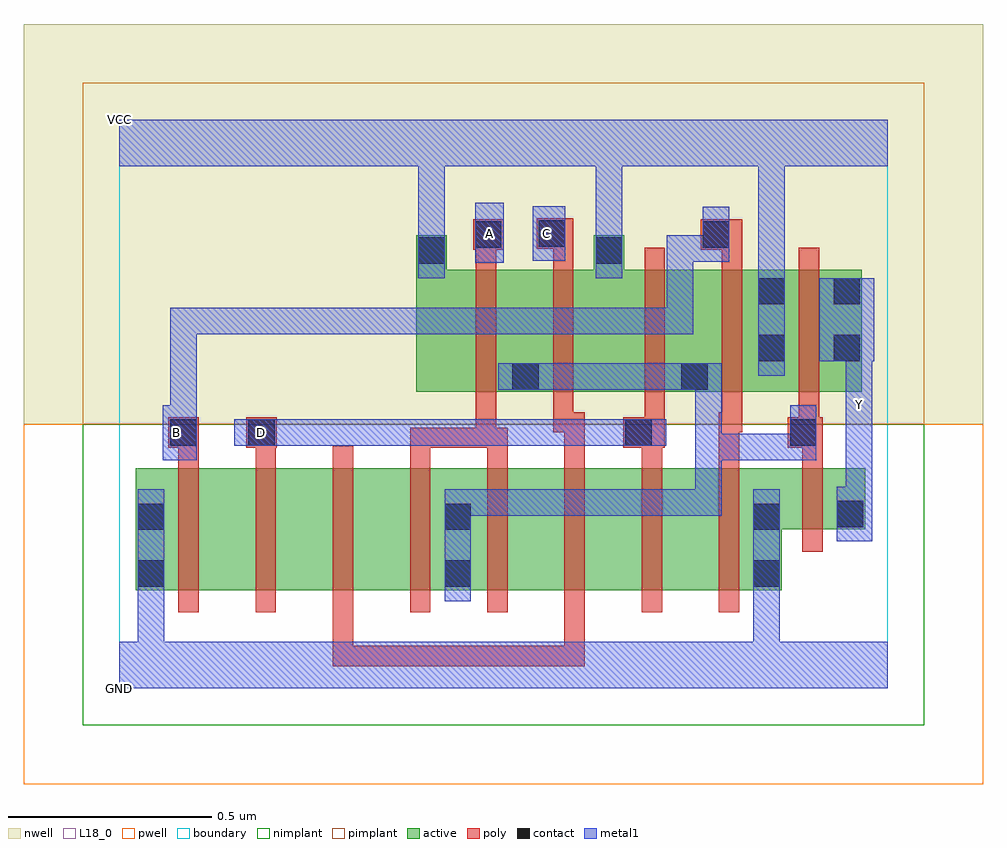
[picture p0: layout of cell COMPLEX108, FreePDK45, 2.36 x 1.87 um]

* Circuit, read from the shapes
.subckt COMPLEX108 A B C D GND VCC Y
M1 n1 B GND VSUBS nfet w=0.3u l=0.05u
M2 n2 D n1 VSUBS nfet w=0.3u l=0.05u
M3 n3 C n2 VSUBS nfet w=0.3u l=0.05u
M4 n4 A n3 VSUBS nfet w=0.3u l=0.05u
M5 n5 A n4 VSUBS nfet w=0.3u l=0.05u
M6 n6 C n5 VSUBS nfet w=0.3u l=0.05u
M7 n7 D n6 VSUBS nfet w=0.3u l=0.05u
M8 GND B n7 VSUBS nfet w=0.3u l=0.05u
M9 Y n4 GND VSUBS nfet w=0.15u l=0.05u
M10 n4 A VCC n8 pfet w=0.3u l=0.05u
M11 VCC C n4 n8 pfet w=0.3u l=0.05u
M12 n4 D VCC n8 pfet w=0.3u l=0.05u
M13 VCC B n4 n8 pfet w=0.3u l=0.05u
M14 Y n4 VCC n8 pfet w=0.3u l=0.05u
.ends

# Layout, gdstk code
import gdstk
lib = gdstk.Library(unit=1e-6, precision=1e-09)
def R(c, l, rs):  # rectangles x0, y0, x1, y1
    for r in rs: c.add(gdstk.rectangle(r[:2], r[2:], *l))
def A(c, l, x, y, w, h, nx, ny, dx, dy):  # array of equal rectangles
    R(c, l, [(x+i*dx, y+j*dy, x+i*dx+w, y+j*dy+h) for i in range(nx) for j in range(ny)])
active = (1, 0)
pwell = (2, 0)
nwell = (3, 0)
nimplant = (4, 0)
pimplant = (5, 0)
poly = (9, 0)
contact = (10, 0)
metal1 = (11, 0)
L18_0 = (18, 0)
boundary = (235, 0)

complex108 = lib.new_cell('COMPLEX108')
R(complex108, active, [(0.04,0.242,0.265,0.542), (0.04,0.242,0.115,0.542), (0.265,0.242,0.455,0.542), (0.455,0.242,0.645,0.542), (0.645,0.242,0.87,0.542), (0.795,0.242,1.025,0.542), (0.795,0.242,0.87,0.517), (1.025,0.242,1.215,0.542), (1.215,0.242,1.405,0.542), (1.405,0.242,1.63,0.542), (1.555,0.245,1.63,0.46), (1.555,0.392,1.835,0.542), (1.76,0.392,1.835,0.542), (0.73,0.73,1.037,1.03), (0.73,0.73,0.805,1.115), (0.962,0.73,1.242,1.03), (0.962,0.73,1.037,0.897), (1.167,0.73,1.452,1.03), (1.377,0.73,1.452,1.005), (1.377,0.73,1.642,1.03), (1.567,0.73,1.827,1.03), (1.752,0.73,1.827,1.03), (1.567,0.8,1.642,1.015), (1.167,0.832,1.242,1.115)])
R(complex108, pwell, [(-0.235,-0.235,2.125,0.65)])
R(complex108, nwell, [(-0.235,0.65,2.125,1.635)])
R(complex108, nimplant, [(-0.09,-0.09,1.98,0.65)])
R(complex108, pimplant, [(-0.09,0.65,1.98,1.49)])
A(complex108, poly, 0.145, 0.187, 0.05, 0.41, 8, 1, 0.19, 0)
A(complex108, poly, 1.292, 0.675, 0.05, 0.41, 3, 1, 0.19, 0)
R(complex108, poly, [(0.525,0.055,0.575,0.237), (0.525,0.055,0.575,0.105), (0.525,0.055,0.575,0.105), (0.525,0.055,0.575,0.105), (0.525,0.055,0.707,0.105), (0.657,0.055,0.707,0.105), (0.657,0.055,0.945,0.105), (0.895,0.055,0.945,0.105), (0.895,0.055,0.945,0.105), (0.895,0.055,0.945,0.105), (0.895,0.055,1.145,0.105), (1.095,0.055,1.145,0.237), (1.095,0.055,1.145,0.105), (1.095,0.055,1.145,0.105), (1.095,0.055,1.145,0.105), (1.68,0.337,1.73,0.597), (0.145,0.547,0.195,0.642), (0.335,0.547,0.385,0.642), (0.715,0.547,0.765,0.642), (0.905,0.547,0.955,0.642), (1.095,0.547,1.145,0.68), (1.285,0.547,1.335,0.642), (1.475,0.547,1.525,0.68), (1.68,0.547,1.73,0.642), (0.12,0.592,0.195,0.667), (0.312,0.592,0.387,0.667), (0.715,0.592,0.765,0.642), (0.715,0.592,0.765,0.642), (0.715,0.592,0.765,0.642), (0.715,0.592,0.927,0.642), (0.877,0.592,0.927,0.725), (0.877,0.592,0.955,0.642), (1.24,0.592,1.342,0.667), (1.645,0.592,1.73,0.667), (1.292,0.617,1.342,0.725), (1.672,0.617,1.722,0.725), (1.067,0.63,1.117,0.725), (1.067,0.63,1.145,0.68), (1.475,0.63,1.532,0.68), (1.482,0.63,1.532,0.725), (0.877,0.675,0.927,1.085), (1.067,0.675,1.117,1.085), (0.877,1.035,0.927,1.13), (1.067,1.035,1.117,1.132), (1.482,1.035,1.532,1.13), (0.87,1.08,0.945,1.155), (1.43,1.08,1.532,1.155), (1.027,1.082,1.117,1.157)])
R(complex108, contact, [(0.045,0.25,0.11,0.315), (0.8,0.25,0.865,0.315), (1.56,0.25,1.625,0.315), (0.045,0.39,0.11,0.455), (0.8,0.39,0.865,0.455), (1.56,0.39,1.625,0.455), (1.765,0.397,1.83,0.462), (0.125,0.597,0.19,0.662), (0.317,0.597,0.382,0.662), (1.245,0.597,1.31,0.662), (1.65,0.597,1.715,0.662), (0.967,0.735,1.032,0.8), (1.382,0.735,1.447,0.8), (1.572,0.805,1.637,0.87), (1.757,0.805,1.822,0.87), (1.572,0.945,1.637,1.01), (1.757,0.945,1.822,1.01), (0.735,1.045,0.8,1.11), (1.172,1.045,1.237,1.11), (0.875,1.085,0.94,1.15), (1.435,1.085,1.5,1.15), (1.032,1.087,1.097,1.152)])
R(complex108, metal1, [(0,0,1.89,0.115), (0.045,0.05,0.11,0.28), (1.56,0.05,1.625,0.115), (1.56,0.05,1.625,0.115), (1.56,0.05,1.625,0.28), (0.045,0.215,0.11,0.28), (0.045,0.215,0.11,0.28), (0.045,0.215,0.11,0.49), (0.8,0.215,0.865,0.49), (1.56,0.215,1.625,0.49), (1.765,0.362,1.852,0.497), (0.8,0.425,0.865,0.49), (0.8,0.425,0.865,0.49), (0.8,0.425,1.1,0.49), (1.035,0.425,1.1,0.49), (1.035,0.425,1.1,0.49), (1.035,0.425,1.1,0.49), (1.035,0.425,1.275,0.49), (1.21,0.425,1.275,0.49), (1.21,0.425,1.275,0.49), (1.21,0.425,1.275,0.49), (1.21,0.425,1.482,0.49), (1.417,0.425,1.482,0.49), (1.417,0.425,1.482,0.627), (1.787,0.432,1.852,0.697), (0.107,0.562,0.19,0.697), (1.417,0.562,1.482,0.627), (1.417,0.562,1.482,0.627), (1.417,0.562,1.482,0.627), (1.417,0.562,1.65,0.627), (1.417,0.562,1.482,0.8), (1.585,0.562,1.715,0.627), (1.585,0.562,1.65,0.627), (1.65,0.562,1.715,0.697), (0.282,0.597,0.417,0.662), (0.352,0.597,0.417,0.662), (0.352,0.597,0.417,0.662), (0.352,0.597,0.555,0.662), (0.49,0.597,0.555,0.662), (0.49,0.597,0.555,0.662), (0.49,0.597,0.555,0.662), (0.49,0.597,0.722,0.662), (0.657,0.597,0.722,0.662), (0.657,0.597,0.86,0.662), (0.795,0.597,0.86,0.662), (0.795,0.597,0.86,0.662), (0.795,0.597,0.86,0.662), (0.795,0.597,1.1,0.662), (1.035,0.597,1.1,0.662), (1.035,0.597,1.1,0.662), (1.035,0.597,1.1,0.662), (1.035,0.597,1.275,0.662), (1.21,0.597,1.275,0.662), (1.21,0.597,1.275,0.662), (1.21,0.597,1.345,0.662), (0.125,0.632,0.19,0.697), (0.125,0.632,0.19,0.697), (0.125,0.632,0.19,0.937), (1.787,0.632,1.852,0.767), (1.787,0.702,1.852,0.87), (0.932,0.735,1.067,0.8), (1.002,0.735,1.067,0.8), (1.002,0.735,1.067,0.8), (1.002,0.735,1.275,0.8), (1.21,0.735,1.275,0.8), (1.21,0.735,1.275,0.8), (1.21,0.735,1.275,0.8), (1.21,0.735,1.412,0.8), (1.347,0.735,1.482,0.8), (1.572,0.77,1.637,1.045), (1.722,0.805,1.857,1.01), (0.125,0.872,0.19,0.937), (0.125,0.872,0.417,0.937), (0.352,0.872,0.417,0.937), (0.352,0.872,0.417,0.937), (0.352,0.872,0.417,0.937), (0.352,0.872,0.585,0.937), (0.52,0.872,0.585,0.937), (0.52,0.872,0.585,0.937), (0.52,0.872,0.585,0.937), (0.52,0.872,0.722,0.937), (0.657,0.872,0.722,0.937), (0.657,0.872,0.722,0.937), (0.657,0.872,0.722,0.937), (0.657,0.872,0.722,0.937), (0.657,0.872,0.722,0.937), (0.657,0.872,0.86,0.937), (0.795,0.872,0.86,0.937), (0.795,0.872,1.002,0.937), (0.937,0.872,1.002,0.937), (0.937,0.872,1.002,0.937), (0.937,0.872,1.002,0.937), (0.937,0.872,1.275,0.937), (1.21,0.872,1.275,0.937), (1.21,0.872,1.275,0.937), (1.21,0.872,1.275,0.937), (1.21,0.872,1.412,0.937), (1.347,0.872,1.412,0.937), (1.347,0.872,1.412,1.115), (1.572,0.98,1.637,1.35), (0.735,1.01,0.8,1.145), (1.172,1.01,1.237,1.145), (0.875,1.047,0.945,1.195), (1.347,1.05,1.412,1.115), (1.347,1.05,1.412,1.115), (1.347,1.05,1.412,1.115), (1.347,1.05,1.5,1.115), (1.435,1.05,1.5,1.185), (1.017,1.052,1.097,1.187), (0.735,1.08,0.8,1.145), (0.735,1.08,0.8,1.145), (0.735,1.08,0.8,1.35), (1.172,1.08,1.237,1.35), (0,1.285,1.89,1.4), (0.735,1.285,0.8,1.35), (0.735,1.285,0.8,1.35), (1.172,1.285,1.237,1.35), (1.172,1.285,1.237,1.35), (1.172,1.285,1.237,1.35), (1.172,1.285,1.237,1.35), (1.572,1.285,1.637,1.35), (1.572,1.285,1.637,1.35), (1.572,1.285,1.637,1.35), (1.572,1.285,1.637,1.35)])
R(complex108, L18_0, [(0,0,1.89,0.115), (0.045,0.05,0.11,0.28), (1.56,0.05,1.625,0.115), (1.56,0.05,1.625,0.115), (1.56,0.05,1.625,0.28), (0.045,0.215,0.11,0.28), (0.045,0.215,0.11,0.28), (0.045,0.215,0.11,0.49), (1.56,0.215,1.625,0.49), (1.765,0.362,1.852,0.497), (1.787,0.432,1.852,0.697), (0.107,0.562,0.19,0.697), (0.107,0.597,0.172,0.662), (0.282,0.597,0.417,0.662), (0.317,0.597,0.382,0.662), (0.352,0.597,0.417,0.662), (0.352,0.597,0.417,0.662), (0.352,0.597,0.555,0.662), (0.49,0.597,0.555,0.662), (0.49,0.597,0.555,0.662), (0.49,0.597,0.555,0.662), (0.49,0.597,0.722,0.662), (0.657,0.597,0.722,0.662), (0.657,0.597,0.86,0.662), (0.795,0.597,0.86,0.662), (0.795,0.597,0.86,0.662), (0.795,0.597,0.86,0.662), (0.795,0.597,1.1,0.662), (1.035,0.597,1.1,0.662), (1.035,0.597,1.1,0.662), (1.035,0.597,1.1,0.662), (1.035,0.597,1.275,0.662), (1.21,0.597,1.275,0.662), (1.21,0.597,1.275,0.662), (1.21,0.597,1.345,0.662), (0.125,0.632,0.19,0.697), (0.125,0.632,0.19,0.697), (0.125,0.632,0.19,0.937), (1.787,0.632,1.852,0.767), (1.787,0.667,1.852,0.732), (1.787,0.702,1.852,0.87), (1.572,0.77,1.637,1.045), (1.722,0.805,1.857,1.01), (0.125,0.872,0.19,0.937), (0.125,0.872,0.417,0.937), (0.352,0.872,0.417,0.937), (0.352,0.872,0.417,0.937), (0.352,0.872,0.417,0.937), (0.352,0.872,0.585,0.937), (0.52,0.872,0.585,0.937), (0.52,0.872,0.585,0.937), (0.52,0.872,0.585,0.937), (0.52,0.872,0.722,0.937), (0.657,0.872,0.722,0.937), (0.657,0.872,0.722,0.937), (0.657,0.872,0.722,0.937), (0.657,0.872,0.722,0.937), (0.657,0.872,0.722,0.937), (0.657,0.872,0.86,0.937), (0.795,0.872,0.86,0.937), (0.795,0.872,1.002,0.937), (0.937,0.872,1.002,0.937), (0.937,0.872,1.002,0.937), (0.937,0.872,1.002,0.937), (0.937,0.872,1.275,0.937), (1.21,0.872,1.275,0.937), (1.21,0.872,1.275,0.937), (1.21,0.872,1.275,0.937), (1.21,0.872,1.412,0.937), (1.347,0.872,1.412,0.937), (1.347,0.872,1.412,1.115), (1.572,0.98,1.637,1.35), (0.735,1.01,0.8,1.145), (1.172,1.01,1.237,1.145), (0.875,1.047,0.945,1.195), (1.347,1.05,1.412,1.115), (1.347,1.05,1.412,1.115), (1.347,1.05,1.412,1.115), (1.347,1.05,1.5,1.115), (1.435,1.05,1.5,1.185), (1.017,1.052,1.097,1.187), (0.735,1.08,0.8,1.145), (0.735,1.08,0.8,1.145), (0.735,1.08,0.8,1.35), (1.172,1.08,1.237,1.35), (0.877,1.087,0.942,1.152), (1.017,1.087,1.082,1.152), (0,1.285,1.89,1.4), (0.735,1.285,0.8,1.35), (0.735,1.285,0.8,1.35), (1.172,1.285,1.237,1.35), (1.172,1.285,1.237,1.35), (1.172,1.285,1.237,1.35), (1.172,1.285,1.237,1.35), (1.572,1.285,1.637,1.35), (1.572,1.285,1.637,1.35), (1.572,1.285,1.637,1.35), (1.572,1.285,1.637,1.35)])
R(complex108, boundary, [(0,0,1.89,1.4)])
complex108.add(gdstk.Label('A', (0.91,1.12), layer=11, texttype=0))
complex108.add(gdstk.Label('B', (0.14,0.63), layer=11, texttype=0))
complex108.add(gdstk.Label('C', (1.05,1.12), layer=11, texttype=0))
complex108.add(gdstk.Label('D', (0.35,0.63), layer=11, texttype=0))
complex108.add(gdstk.Label('Y', (1.82,0.7), layer=11, texttype=0))
complex108.add(gdstk.Label('VCC', (0,1.4), layer=11, texttype=0))
complex108.add(gdstk.Label('GND', (0,0), layer=11, texttype=0))

lib.write_gds('COMPLEX108.gds')
